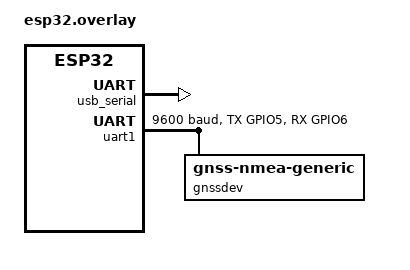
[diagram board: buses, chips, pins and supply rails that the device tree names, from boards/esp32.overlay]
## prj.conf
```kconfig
# Copyright (c) 2023 Trackunit Corporation
# SPDX-License-Identifier: Apache-2.0

CONFIG_GNSS=y
CONFIG_GNSS_SATELLITES=y
CONFIG_LOG=y
CONFIG_LOG_BUFFER_SIZE=8192
CONFIG_GNSS_DUMP_TO_LOG=y
CONFIG_GNSS_LOG_LEVEL_DBG=y
CONFIG_GNSS_DUMP_TO_LOG_BUF_SIZE=1024
CONFIG_MODEM_MODULES_LOG_LEVEL_DBG=y
```

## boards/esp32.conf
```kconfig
CONFIG_UART_INTERRUPT_DRIVEN=y
CONFIG_MODEM_MODULES=y

#Power management
# CONFIG_PM=y
#Console
CONFIG_CONSOLE=y
# CONFIG_APP_EVENT_MANAGER=y
CONFIG_UART_CONSOLE=y
CONFIG_RTT_CONSOLE=n
# CONFIG_UART_ASYNC_API=y
CONFIG_ASSERT=y

#FPU 
CONFIG_FPU=y

#Cpp Configs
CONFIG_CPP=y
CONFIG_LOG=y
CONFIG_LOG_PROCESS_THREAD_STACK_SIZE=4096
```

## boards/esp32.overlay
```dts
/*
 * Copyright (c) 2022 Espressif Systems (Shanghai) Co., Ltd.
 *
 * SPDX-License-Identifier: Apache-2.0
 */
/*
*	ESP32 https://zephyrproject.org/how-to-set-up-esp32-gpio-pins-in-zephyr-rtos/
*	GPIO0..GPIO31 → port &gpio0, pins 0..31
*	GPIO32..GPIO39 → port &gpio1, pins 0..7
*/
/ {
	aliases {
		/* On ESP32-C3, only GPIO0~5 can be used
		 * as wake-up sources
		 */
    
		gnss = &gnssdev;
    };

	gpio_keys {
		compatible = "gpio-keys";
		status = "okay";
	};

    chosen {
        zephyr,console = &usb_serial;
        zephyr,shell-uart = &usb_serial;
    };
};

&usb_serial {
    status = "okay";
};

&uart1 {
	status = "okay";
	current-speed = <9600>;
	pinctrl-0 = <&uart1_pins>;
	pinctrl-names = "default";
	gnssdev: gnss-nmea-generic {
			compatible = "gnss-nmea-generic";
	};
};

&pinctrl {
	uart1_pins: uart1_pins {
		group1 {
			pinmux = <UART1_TX_GPIO5>;
			output-high;
		};
		group2 {
			pinmux = <UART1_RX_GPIO6>;
			bias-pull-up;
		};
	};
};
```

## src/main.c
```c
/**
 * @file main.c
 * @author Jeronimo Agullo (jeronimoagullo97@gmail.com)
 * @brief 
 * @version 1.0
 * @date 2024-04-08
 * 
 * @copyright Copyright (c) 2024
 * 
 */

#include <zephyr/device.h>
#include <zephyr/drivers/gnss.h>
#include <zephyr/kernel.h>

#include <zephyr/logging/log.h>
LOG_MODULE_REGISTER(zephyr_gnss_sample, LOG_LEVEL_DBG);


static struct gnss_data mGNSSData = (struct gnss_data){0};;
static void gnss_data_cb(const struct device *dev, const struct gnss_data *data)
{
	memcpy(&mGNSSData, data, sizeof(struct gnss_data));
	if (data->info.fix_status != GNSS_FIX_STATUS_NO_FIX) {
		LOG_INF("GNSS Fix Acquired!\n");
		LOG_INF("\tdate: %02d:%02d:%02d:%03d %02d-%02d-%04d", 
				data->utc.hour, data->utc.minute, data->utc.millisecond/1000, data->utc.millisecond%1000, 
				data->utc.month_day, data->utc.month, data->utc.century_year + 2000);
		LOG_INF("\t%s location (%lld, %lld) with %d tracked satellites", 
				dev->name, data->nav_data.latitude, data->nav_data.longitude, data->info.satellites_cnt);
		LOG_INF("\taltitude:\t %d m, \tspeed:\t %d km/h, \tbearing:\t %d deg", 
				data->nav_data.altitude/1000, data->nav_data.speed*36/1000, data->nav_data.bearing/1000);
		LOG_INF("\thdop:\t %d, \tgeoid_separation:\t %d m", 
				data->info.hdop, data->info.geoid_separation);
	} else {
		LOG_INF("no fix. Searching sattelites...");
	}
}

GNSS_DATA_CALLBACK_DEFINE(DEVICE_DT_GET(DT_ALIAS(gnss)), gnss_data_cb);

#if CONFIG_GNSS_SATELLITES
static void gnss_satellites_cb(const struct device *dev, const struct gnss_satellite *satellites,
			       uint16_t size)
{
	LOG_INF("%s reported %u satellites!", dev->name, size);
}
#endif

GNSS_SATELLITES_CALLBACK_DEFINE(DEVICE_DT_GET(DT_ALIAS(gnss)), gnss_satellites_cb);

int main(void)
{
	LOG_INF("Starting Zephyr GNSS Sample");

	return 0;
}
```
